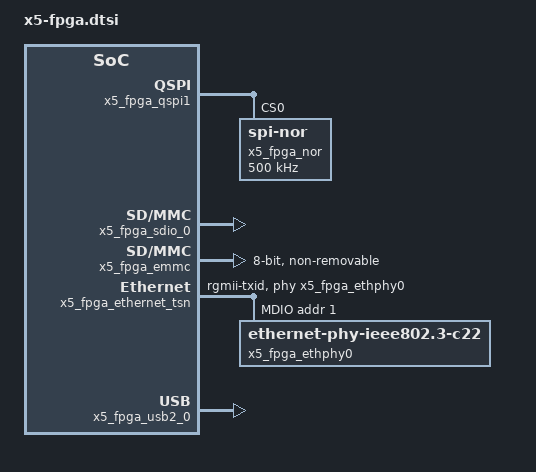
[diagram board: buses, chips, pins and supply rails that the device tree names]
&board_dts {
	board_x5_fpga {
		compatible = "btype-bus";
		model = "X5 FPGA Board";
		#address-cells = <1>;
		#size-cells = <1>;
		ranges;

		btype-dev = &board_type;
		supported-btype =
			<
			HOBOT_X5_FPGA_ID
			>;

		x5_fpga_uart1: serial@34070000 {
			compatible = "ns16550a";
			reg = <0x34070000 0x10000>;
			clock-frequency = <UART_CLK_FREQ>;
			reg-shift = <2>;
			current-speed = <115200>;
			u-boot,dm-pre-reloc;
			status = "disabled";
		};

		x5_fpga_qspi1: spi@35000000 {
			status = "okay";
			compatible = "snps,dwc-ssi-1.01a";
			reg = <0x35000000 0x1000>;
			clocks = <&qspiclk>;
			spi-max-frequency = <5000000>;
			num-cs = <1>;
			reg-io-width = <4>;
			#address-cells = <1>;
			#size-cells = <0>;
			x5_fpga_nor: spi-nor@0 {
				compatible ="jedec,spi-nor";
				spi-max-frequency = <500000>;
				reg = <0>;
			};
		};

		x5_fpga_sdio_0: sdio-host@35020000 {
			compatible = "horizon,x5-sdhci";
			reg = <0x35020000 0x10000>;
			clocks = <&sdclk>;
			max-frequency = <5000000>;
			no-1-8-v;
			no-sdio;
			status = "okay";
		};

		x5_fpga_sdio_1: sdio-host@35030000 {
			compatible = "horizon,x5-sdhci";
			reg = <0x35030000 0x10000>;
			clocks = <&sdclk>;
			max-frequency = <5000000>;
			no-1-8-v;
			no-sdio;
			status = "disabled";
		};

		x5_fpga_emmc: sdio-host@35040000 {
			compatible = "horizon,x5-sdhci";
			reg = <0x35040000 0x10000>;
			clocks = <&sdclk>;
			//max-frequency = <200000000>;
			bus-width = <8>;
			non-removable;
			no-sdio;
			no-sd;
			disable-wp;
			status = "okay";
			max-frequency = <5000000>;
		};

		x5_fpga_ethernet_tsn: gmac-tsn@35010000 {
			compatible = "horizon,stm32mp1-dwmac";
			status = "okay";
			reg = <0x35010000 0x10000>;
			reg-names = "stmmaceth";
			clock-names = "stmmaceth",
					"mac-clk-tx",
					"mac-clk-rx",
					"ethstp",
					"syscfg-clk";
			clocks = <&refclk>,
				<&refclk>,
				<&refclk>,
				<&refclk>,
				<&refclk>;
			phy-mode = "rgmii-txid";
			phy-handle = <&x5_fpga_ethphy0>;
			max-speed = <100>;

			mdio {
				compatible = "snps,dwmac-mdio";
				#address-cells = <1>;
				#size-cells = <0>;

				x5_fpga_ethphy0: ethernet-phy@1 {
					compatible = "ethernet-phy-ieee802.3-c22";
					reg = <1>;
					max-frequency = <25000000>;
				};
			};
		};

		x5_fpga_dwc3_usb3_host: usb_host@35100000 {
			compatible = "snps,dwc3";
			status = "disabled";
			reg = <0x35100000 0x10000>;
			dr_mode = "host"; // peripheral/host
			phy_type = "utmi";
			phy-names = "usb3-phy";
			snps,dis_enblslpm_quirk;
			snps,dis_u2_susphy_quirk;
			snps,dis_u3_susphy_quirk;
			snps,rx_detect_poll_quirk;
			snps,del_phy_power_chg_quirk;
			snps,quirk-frame-length-adjustment = <0x20>;
			clocks = <&refclk &refclk &refclk>;
			clock-names = "ref", "bus_early", "suspend";
		};

		x5_fpga_dwc3_usb2_host: usb_host@35300000 {
			compatible = "snps,dwc3";
			status = "disabled";
			reg = <0x35300000 0x10000>;
			dr_mode = "host"; // peripheral/host
			phy_type = "utmi";
			phy-names = "usb2-phy";
			maximum-speed = "high-speed";
			snps,dis_enblslpm_quirk;
			snps,dis_u2_susphy_quirk;
			snps,quirk-frame-length-adjustment = <0x20>;
			clocks = <&refclk &refclk &refclk>;
			clock-names = "ref", "bus_early", "suspend";
		};

		x5_fpga_usb2_0: usb@35300000 {
			compatible = "horizon,sunrise5-dwc3";
			reg = <0x35410000 0x2000>;
			reg-names = "usb2-csr-base";

			#address-cells = <2>;
			#size-cells = <2>;
			status = "okay";

			x5_fpga_dwc3_usb2_dev: usb_otg@35300000 {
				compatible = "snps,dwc3";
				status = "okay";
				reg = <0x0 0x35300000 0x0 0x10000>;
				reg-names = "dwc3-base";
				dr_mode = "otg"; // peripheral/host
				phy_type = "utmi";
				phy-names = "usb2-phy";
				maximum-speed = "high-speed";
				snps,dis_enblslpm_quirk;
				snps,dis_u2_susphy_quirk;
				snps,quirk-frame-length-adjustment = <0x20>;
				clocks = <&refclk &refclk &refclk>;
				clock-names = "ref", "bus_early", "suspend";
			};
		};

		x5_fpga_usb3_0: usb@35100000 {
			compatible = "horizon,dwc3";
			#address-cells = <2>;
			#size-cells = <2>;
			status = "disabled";

			x5_fpga_dwc3_usb3_dev: usb_otg@35100000 {
				compatible = "snps,dwc3";
				status = "disabled";
				reg = <0x0 0x35100000 0x0 0x10000>;
				dr_mode = "otg"; // peripheral/host
				phy_type = "utmi";
				phy-names = "usb3-phy";
				snps,dis_enblslpm_quirk;
				snps,dis_u2_susphy_quirk;
				snps,quirk-frame-length-adjustment = <0x20>;
				snps,dis_u3_susphy_quirk;
				snps,rx_detect_poll_quirk;
				snps,del_phy_power_chg_quirk;
				clocks = <&refclk &refclk &refclk>;
				clock-names = "ref", "bus_early", "suspend";
			};
		};
	};
};
